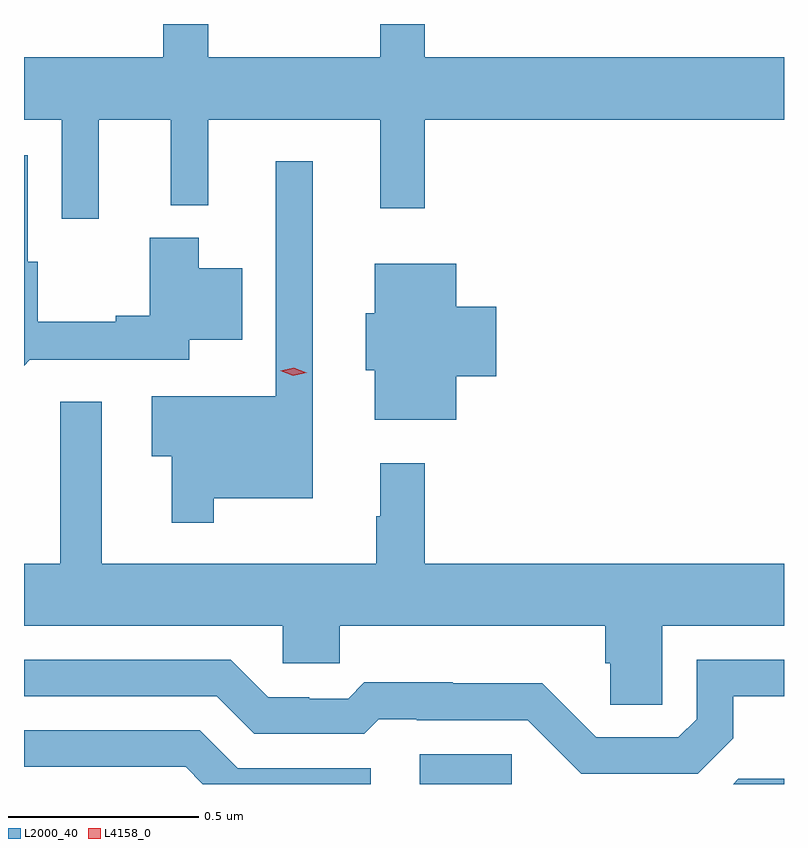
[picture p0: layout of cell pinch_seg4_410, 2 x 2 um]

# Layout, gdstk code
import gdstk
lib = gdstk.Library(unit=1e-6, precision=1e-09)
def R(c, l, rs):  # rectangles x0, y0, x1, y1
    for r in rs: c.add(gdstk.rectangle(r[:2], r[2:], *l))
def P(c, l, *ps):  # polygons
    for p in ps: c.add(gdstk.Polygon(p, *l))
L2000_40 = (2000, 40)
L4158_0 = (4158, 0)

pinch_seg4_410 = lib.new_cell('pinch_seg4_410')
R(pinch_seg4_410, L2000_40, [(975.915,788.412,976.158,788.49)])
P(pinch_seg4_410, L2000_40, [(975.241,790.324),(974.874,790.324),(974.874,790.16),(974.973,790.16),(974.973,789.9),(975.071,789.9),(975.071,790.16),(975.26,790.16),(975.26,789.935),(975.359,789.935),(975.359,790.16),(975.812,790.16),(975.812,789.927),(975.929,789.927),(975.929,790.16),(976.874,790.16),(976.874,790.324),(975.929,790.324),(975.929,790.412),(975.812,790.412),(975.812,790.324),(975.359,790.324),(975.359,790.412),(975.241,790.412)],
  [(974.889,789.528),(975.309,789.528),(975.309,789.581),(975.448,789.581),(975.448,789.769),(975.334,789.769),(975.334,789.85),(975.205,789.85),(975.205,789.644),(975.116,789.644),(975.116,789.629),(974.91,789.629),(974.91,789.786),(974.884,789.786),(974.884,790.066),(974.874,790.066),(974.874,789.513)],
  [(975.373,789.164),(975.634,789.164),(975.634,790.051),(975.537,790.051),(975.537,789.433),(975.21,789.433),(975.21,789.275),(975.263,789.275),(975.263,789.099),(975.373,789.099)],
  [(976.012,789.485),(976.117,789.485),(976.117,789.668),(976.012,789.668),(976.012,789.781),(975.797,789.781),(975.797,789.651),(975.773,789.651),(975.773,789.501),(975.797,789.501),(975.797,789.371),(976.012,789.371)],
  [(976.554,788.828),(976.874,788.828),(976.874,788.992),(975.929,788.992),(975.929,789.256),(975.812,789.256),(975.812,789.116),(975.801,789.116),(975.801,788.992),(975.079,788.992),(975.079,789.418),(974.969,789.418),(974.969,788.992),(974.874,788.992),(974.874,788.828),(975.555,788.828),(975.555,788.73),(975.705,788.73),(975.705,788.828),(976.403,788.828),(976.403,788.73),(976.417,788.73),(976.417,788.62),(976.554,788.62)],
  [(976.741,788.533),(976.741,788.643),(976.874,788.643),(976.874,788.739),(976.644,788.739),(976.644,788.583),(976.596,788.535),(976.38,788.535),(976.238,788.677),(976.002,788.677),(976.002,788.68),(975.769,788.68),(975.727,788.637),(975.624,788.637),(975.624,788.64),(975.517,788.64),(975.418,788.739),(974.874,788.739),(974.874,788.643),(975.381,788.643),(975.48,788.544),(975.769,788.544),(975.808,788.583),(975.907,788.583),(975.907,788.58),(976.2,788.58),(976.341,788.439),(976.647,788.439)],
  [(975.786,788.454),(975.436,788.454),(975.337,788.553),(974.874,788.553),(974.874,788.457),(975.3,788.457),(975.345,788.412),(975.786,788.412)],
  [(976.874,788.426),(976.754,788.426),(976.74,788.412),(976.874,788.412)])
P(pinch_seg4_410, L4158_0, [(975.582,789.487),(975.548,789.499),(975.548,789.499),(975.548,789.5),(975.584,789.507),(975.618,789.494),(975.618,789.494),(975.618,789.494)])

lib.write_gds('pinch_seg4_410.gds')
